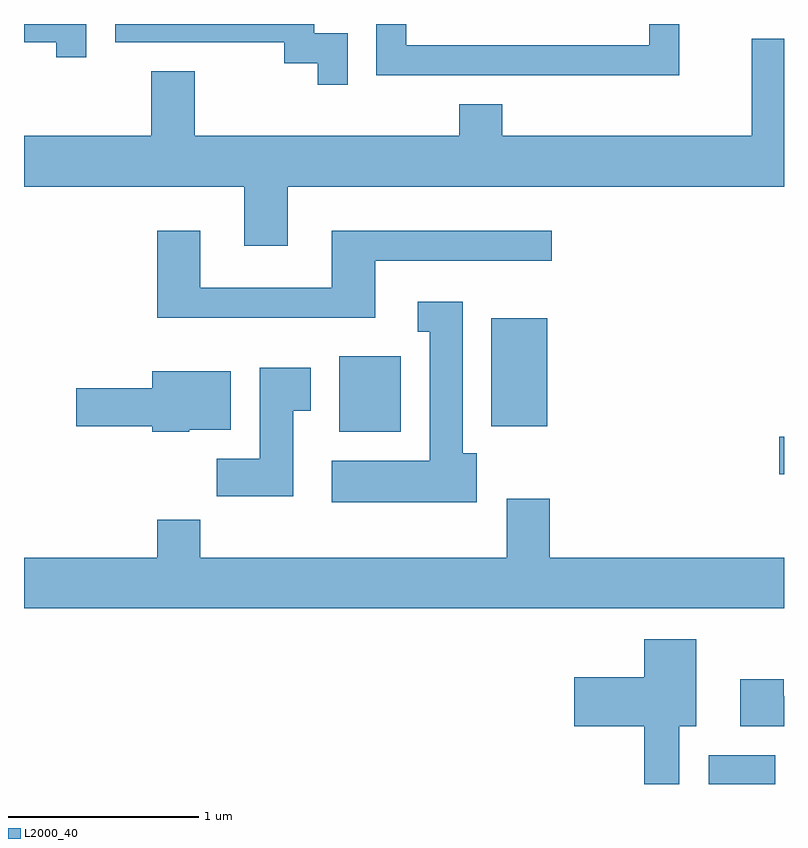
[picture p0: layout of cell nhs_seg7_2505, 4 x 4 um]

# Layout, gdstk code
import gdstk
lib = gdstk.Library(unit=1e-6, precision=1e-09)
def R(c, l, rs):  # rectangles x0, y0, x1, y1
    for r in rs: c.add(gdstk.rectangle(r[:2], r[2:], *l))
def P(c, l, *ps):  # polygons
    for p in ps: c.add(gdstk.Polygon(p, *l))
L2000_40 = (2000, 40)

nhs_seg7_2505 = lib.new_cell('nhs_seg7_2505')
R(nhs_seg7_2505, L2000_40, [(265.216,1742.252,265.564,1742.404), (265.586,1743.881,265.611,1744.079), (263.271,1744.106,263.594,1744.504), (264.071,1744.136,264.364,1744.704)])
P(nhs_seg7_2505, L2000_40, [(261.939,1746.252),(261.611,1746.252),(261.611,1746.156),(261.781,1746.156),(261.781,1746.078),(261.939,1746.078)],
  [(263.314,1746.204),(263.139,1746.204),(263.139,1746.252),(262.091,1746.252),(262.091,1746.156),(262.981,1746.156),(262.981,1746.046),(263.156,1746.046),(263.156,1745.933),(263.314,1745.933)],
  [(265.059,1746.252),(264.901,1746.252),(264.901,1746.139),(263.624,1746.139),(263.624,1746.252),(263.466,1746.252),(263.466,1745.981),(265.059,1745.981)],
  [(262.999,1745.396),(265.611,1745.396),(265.611,1746.174),(265.441,1746.174),(265.441,1745.664),(264.129,1745.664),(264.129,1745.829),(263.901,1745.829),(263.901,1745.664),(262.509,1745.664),(262.509,1746.004),(262.281,1746.004),(262.281,1745.664),(261.611,1745.664),(261.611,1745.396),(262.771,1745.396),(262.771,1745.086),(262.999,1745.086)],
  [(263.459,1745.006),(264.388,1745.006),(264.388,1745.164),(263.231,1745.164),(263.231,1744.864),(262.539,1744.864),(262.539,1745.164),(262.311,1745.164),(262.311,1744.706),(263.459,1744.706)],
  [(263.994,1743.994),(263.919,1743.994),(263.919,1744.789),(263.683,1744.789),(263.683,1744.631),(263.746,1744.631),(263.746,1743.954),(263.231,1743.954),(263.231,1743.736),(263.994,1743.736)],
  [(263.029,1744.216),(263.119,1744.216),(263.119,1744.444),(262.851,1744.444),(262.851,1743.964),(262.626,1743.964),(262.626,1743.766),(263.029,1743.766)],
  [(262.48,1744.116),(262.699,1744.116),(262.699,1744.424),(262.286,1744.424),(262.286,1744.334),(261.886,1744.334),(261.886,1744.136),(262.286,1744.136),(262.286,1744.106),(262.48,1744.106)],
  [(265.611,1743.444),(264.379,1743.444),(264.379,1743.754),(264.151,1743.754),(264.151,1743.444),(262.539,1743.444),(262.539,1743.644),(262.311,1743.644),(262.311,1743.444),(261.611,1743.444),(261.611,1743.176),(265.611,1743.176)],
  [(265.059,1742.556),(265.149,1742.556),(265.149,1743.014),(264.876,1743.014),(264.876,1742.814),(264.506,1742.814),(264.506,1742.556),(264.876,1742.556),(264.876,1742.252),(265.059,1742.252)],
  [(265.611,1742.714),(265.609,1742.714),(265.609,1742.804),(265.381,1742.804),(265.381,1742.556),(265.611,1742.556)])

lib.write_gds('nhs_seg7_2505.gds')
